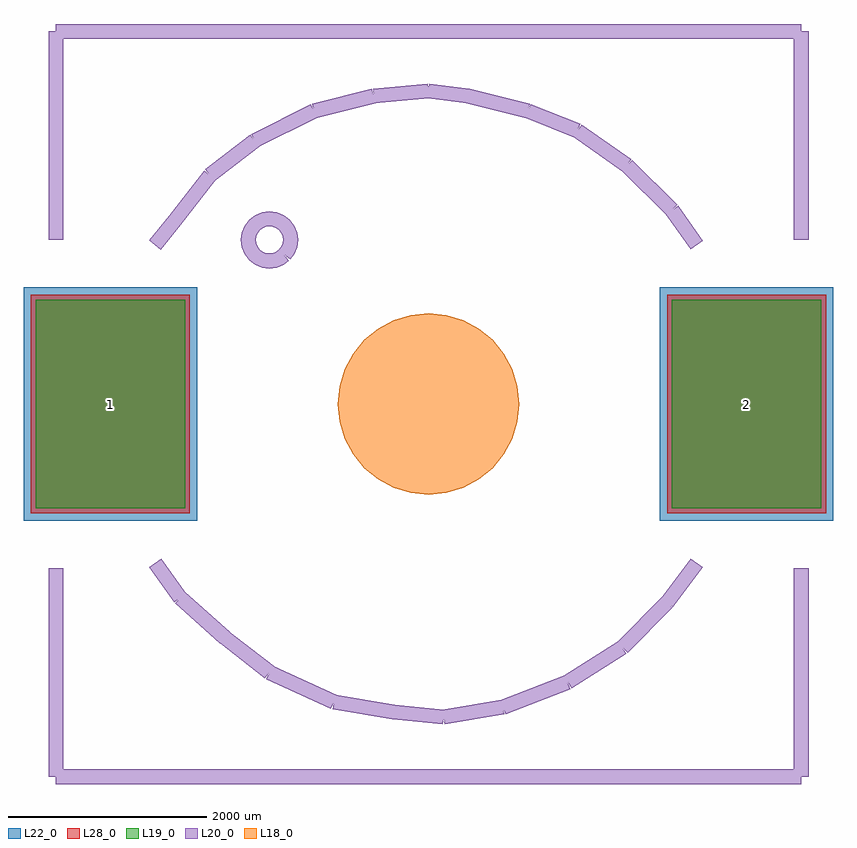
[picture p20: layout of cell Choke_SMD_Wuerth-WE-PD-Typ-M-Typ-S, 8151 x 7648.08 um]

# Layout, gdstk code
import gdstk
lib = gdstk.Library(unit=1e-6, precision=1e-09)
def R(c, l, rs):  # rectangles x0, y0, x1, y1
    for r in rs: c.add(gdstk.rectangle(r[:2], r[2:], *l))
def P(c, l, *ps):  # polygons
    for p in ps: c.add(gdstk.Polygon(p, *l))
L18_0 = (18, 0)
L19_0 = (19, 0)
L20_0 = (20, 0)
L22_0 = (22, 0)
L28_0 = (28, 0)

choke_smd_wuerth_we_pd_t = lib.new_cell('Choke_SMD_Wuerth-WE-PD-Typ-M-Typ-S')
P(choke_smd_wuerth_we_pd_t, L18_0, [(211.934,0),(207.862,41.346),(195.801,81.104),(176.217,117.744),(149.86,149.86),(117.744,176.217),(81.104,195.801),(41.346,207.862),(0,211.934),(-41.346,207.862),(-81.104,195.801),(-117.744,176.217),(-149.86,149.86),(-176.217,117.744),(-195.801,81.104),(-207.862,41.346),(-211.934,0),(-207.862,-41.346),(-195.801,-81.104),(-176.217,-117.744),(-149.86,-149.86),(-117.744,-176.217),(-81.104,-195.801),(-41.346,-207.862),(0,-211.934),(41.346,-207.862),(81.104,-195.801),(117.744,-176.217),(149.86,-149.86),(176.217,-117.744),(195.801,-81.104),(207.862,-41.346)],
  [(553.516,0),(542.88,107.986),(511.382,211.821),(460.232,307.517),(391.395,391.395),(307.517,460.232),(211.821,511.382),(107.986,542.88),(0,553.516),(-107.986,542.88),(-211.821,511.382),(-307.517,460.232),(-391.395,391.395),(-460.232,307.517),(-511.382,211.821),(-542.88,107.986),(-553.516,0),(-542.88,-107.986),(-511.382,-211.821),(-460.232,-307.517),(-391.395,-391.395),(-307.517,-460.232),(-211.821,-511.382),(-107.986,-542.88),(0,-553.516),(107.986,-542.88),(211.821,-511.382),(307.517,-460.232),(391.395,-391.395),(460.232,-307.517),(511.382,-211.821),(542.88,-107.986)],
  [(911.562,0),(894.047,177.837),(842.173,348.84),(757.936,506.437),(644.572,644.572),(506.437,757.936),(348.84,842.173),(177.837,894.047),(0,911.562),(-177.837,894.047),(-348.84,842.173),(-506.437,757.936),(-644.572,644.572),(-757.936,506.437),(-842.173,348.84),(-894.047,177.837),(-911.562,0),(-894.047,-177.837),(-842.173,-348.84),(-757.936,-506.437),(-644.572,-644.572),(-506.437,-757.936),(-348.84,-842.173),(-177.837,-894.047),(0,-911.562),(177.837,-894.047),(348.84,-842.173),(506.437,-757.936),(644.572,-644.572),(757.936,-506.437),(842.173,-348.84),(894.047,-177.837)])
R(choke_smd_wuerth_we_pd_t, L19_0, [(-3950.5,-1049.82,-2450.3,1049.82), (2450.3,-1049.82,3950.5,1049.82)])
R(choke_smd_wuerth_we_pd_t, L22_0, [(-4075.5,-1174.82,-2325.3,1174.82), (2325.3,-1174.82,4075.5,1174.82)])
R(choke_smd_wuerth_we_pd_t, L28_0, [(-4000.5,-1099.82,-2400.3,1099.82), (2400.3,-1099.82,4000.5,1099.82)])
choke_smd_wuerth_we_pd_t.add(gdstk.FlexPath([(-3749.04,3749.04),(-3749.04,1651)], 149.998, ends="flush", simple_path=True, layer=20, datatype=0))  # L20_0
choke_smd_wuerth_we_pd_t.add(gdstk.FlexPath([(3749.04,3749.04),(-3749.04,3749.04)], 149.998, ends="flush", simple_path=True, layer=20, datatype=0))  # L20_0
choke_smd_wuerth_we_pd_t.add(gdstk.FlexPath([(3749.04,-3749.04),(3749.04,-1651)], 149.998, ends="flush", simple_path=True, layer=20, datatype=0))  # L20_0
choke_smd_wuerth_we_pd_t.add(gdstk.FlexPath([(-3749.04,-3749.04),(3749.04,-3749.04)], 149.998, ends="flush", simple_path=True, layer=20, datatype=0))  # L20_0
choke_smd_wuerth_we_pd_t.add(gdstk.FlexPath([(-3749.04,-1651),(-3749.04,-3749.04)], 149.998, ends="flush", simple_path=True, layer=20, datatype=0))  # L20_0
choke_smd_wuerth_we_pd_t.add(gdstk.FlexPath([(3749.04,3749.04),(3749.04,1651)], 149.998, ends="flush", simple_path=True, layer=20, datatype=0))  # L20_0
choke_smd_wuerth_we_pd_t.add(gdstk.FlexPath([(-2550.16,1849.12),(-2750.82,1600.2)], 149.998, ends="flush", simple_path=True, layer=20, datatype=0))  # L20_0
choke_smd_wuerth_we_pd_t.add(gdstk.FlexPath([(-2199.64,2301.24),(-2550.16,1849.12)], 149.998, ends="flush", simple_path=True, layer=20, datatype=0))  # L20_0
choke_smd_wuerth_we_pd_t.add(gdstk.FlexPath([(-1750.06,2649.22),(-2199.64,2301.24)], 149.998, ends="flush", simple_path=True, layer=20, datatype=0))  # L20_0
choke_smd_wuerth_we_pd_t.add(gdstk.FlexPath([(-1150.62,2948.94),(-1750.06,2649.22)], 149.998, ends="flush", simple_path=True, layer=20, datatype=0))  # L20_0
choke_smd_wuerth_we_pd_t.add(gdstk.FlexPath([(-551.18,3098.8),(-1150.62,2948.94)], 149.998, ends="flush", simple_path=True, layer=20, datatype=0))  # L20_0
choke_smd_wuerth_we_pd_t.add(gdstk.FlexPath([(0,3149.6),(-551.18,3098.8)], 149.998, ends="flush", simple_path=True, layer=20, datatype=0))  # L20_0
choke_smd_wuerth_we_pd_t.add(gdstk.FlexPath([(398.78,3098.8),(0,3149.6)], 149.998, ends="flush", simple_path=True, layer=20, datatype=0))  # L20_0
choke_smd_wuerth_we_pd_t.add(gdstk.FlexPath([(1000.76,2948.94),(398.78,3098.8)], 149.998, ends="flush", simple_path=True, layer=20, datatype=0))  # L20_0
choke_smd_wuerth_we_pd_t.add(gdstk.FlexPath([(1501.14,2750.82),(1000.76,2948.94)], 149.998, ends="flush", simple_path=True, layer=20, datatype=0))  # L20_0
choke_smd_wuerth_we_pd_t.add(gdstk.FlexPath([(1998.98,2400.3),(1501.14,2750.82)], 149.998, ends="flush", simple_path=True, layer=20, datatype=0))  # L20_0
choke_smd_wuerth_we_pd_t.add(gdstk.FlexPath([(2451.1,1950.72),(1998.98,2400.3)], 149.998, ends="flush", simple_path=True, layer=20, datatype=0))  # L20_0
choke_smd_wuerth_we_pd_t.add(gdstk.FlexPath([(2700.02,1600.2),(2451.1,1950.72)], 149.998, ends="flush", simple_path=True, layer=20, datatype=0))  # L20_0
choke_smd_wuerth_we_pd_t.add(gdstk.FlexPath([(2400.3,-1998.98),(2700.02,-1600.2)], 149.998, ends="flush", simple_path=True, layer=20, datatype=0))  # L20_0
choke_smd_wuerth_we_pd_t.add(gdstk.FlexPath([(1950.72,-2451.1),(2400.3,-1998.98)], 149.998, ends="flush", simple_path=True, layer=20, datatype=0))  # L20_0
choke_smd_wuerth_we_pd_t.add(gdstk.FlexPath([(1399.54,-2799.08),(1950.72,-2451.1)], 149.998, ends="flush", simple_path=True, layer=20, datatype=0))  # L20_0
choke_smd_wuerth_we_pd_t.add(gdstk.FlexPath([(749.3,-3050.54),(1399.54,-2799.08)], 149.998, ends="flush", simple_path=True, layer=20, datatype=0))  # L20_0
choke_smd_wuerth_we_pd_t.add(gdstk.FlexPath([(149.86,-3149.6),(749.3,-3050.54)], 149.998, ends="flush", simple_path=True, layer=20, datatype=0))  # L20_0
choke_smd_wuerth_we_pd_t.add(gdstk.FlexPath([(-350.52,-3098.8),(149.86,-3149.6)], 149.998, ends="flush", simple_path=True, layer=20, datatype=0))  # L20_0
choke_smd_wuerth_we_pd_t.add(gdstk.FlexPath([(-949.96,-2999.74),(-350.52,-3098.8)], 149.998, ends="flush", simple_path=True, layer=20, datatype=0))  # L20_0
choke_smd_wuerth_we_pd_t.add(gdstk.FlexPath([(-1600.2,-2700.02),(-949.96,-2999.74)], 149.998, ends="flush", simple_path=True, layer=20, datatype=0))  # L20_0
choke_smd_wuerth_we_pd_t.add(gdstk.FlexPath([(-2049.78,-2349.5),(-1600.2,-2700.02)], 149.998, ends="flush", simple_path=True, layer=20, datatype=0))  # L20_0
choke_smd_wuerth_we_pd_t.add(gdstk.FlexPath([(-2499.36,-1950.72),(-2049.78,-2349.5)], 149.998, ends="flush", simple_path=True, layer=20, datatype=0))  # L20_0
choke_smd_wuerth_we_pd_t.add(gdstk.FlexPath([(-2750.82,-1600.2),(-2499.36,-1950.72)], 149.998, ends="flush", simple_path=True, layer=20, datatype=0))  # L20_0
choke_smd_wuerth_we_pd_t.add(gdstk.FlexPath([(-1450.34,1501.14),(-1416.66,1545.033),(-1395.487,1596.147),(-1388.266,1651),(-1395.487,1705.853),(-1416.66,1756.967),(-1450.34,1800.86),(-1494.233,1834.54),(-1545.347,1855.713),(-1600.2,1862.934),(-1655.053,1855.713),(-1706.167,1834.54),(-1750.06,1800.86),(-1783.74,1756.967),(-1804.913,1705.853),(-1812.134,1651),(-1804.913,1596.147),(-1783.74,1545.033),(-1750.06,1501.14),(-1706.167,1467.46),(-1655.053,1446.287),(-1600.2,1439.066),(-1545.347,1446.287),(-1494.233,1467.46),(-1450.34,1501.14)], 149.998, ends="flush", simple_path=True, layer=20, datatype=0))  # L20_0
choke_smd_wuerth_we_pd_t.add(gdstk.Label('2', (3200.4,0), layer=28, texttype=0))
choke_smd_wuerth_we_pd_t.add(gdstk.Label('1', (-3200.4,0), layer=28, texttype=0))
choke_smd_wuerth_we_pd_t.add(gdstk.Label('type', (0,-8890), layer=9, texttype=0))
choke_smd_wuerth_we_pd_t.add(gdstk.Label('devicename', (0,8890), layer=9, texttype=0))

lib.write_gds('Choke_SMD_Wuerth-WE-PD-Typ-M-Typ-S.gds')
